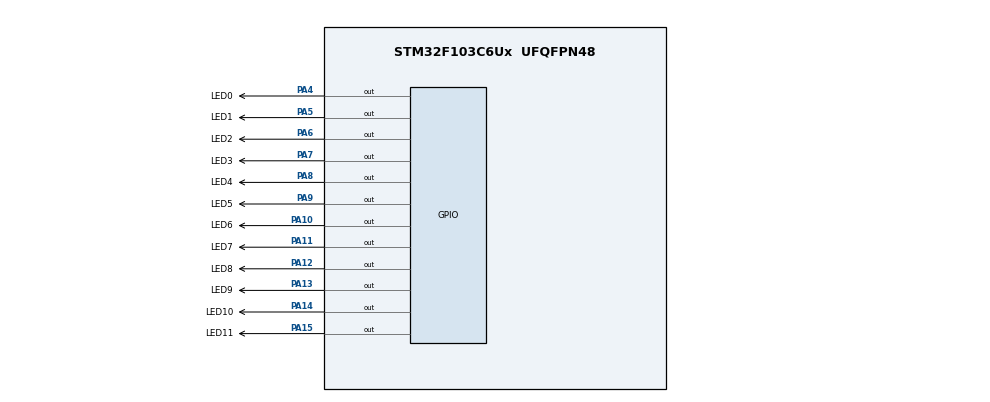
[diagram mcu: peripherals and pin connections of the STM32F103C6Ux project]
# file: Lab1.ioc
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Mcu.Family=STM32F1
Mcu.Name=STM32F103C6Ux
Mcu.Package=UFQFPN48
NVIC.PriorityGroup=NVIC_PRIORITYGROUP_4
PA10.GPIO_Label=LED6
PA10.Signal=GPIO_Output
PA11.GPIO_Label=LED7
PA11.Signal=GPIO_Output
PA12.GPIO_Label=LED8
PA12.Signal=GPIO_Output
PA13.GPIO_Label=LED9
PA13.Signal=GPIO_Output
PA14.GPIO_Label=LED10
PA14.Signal=GPIO_Output
PA15.GPIO_Label=LED11
PA15.Signal=GPIO_Output
PA4.GPIO_Label=LED0
PA4.Signal=GPIO_Output
PA5.GPIO_Label=LED1
PA5.Signal=GPIO_Output
PA6.GPIO_Label=LED2
PA6.Signal=GPIO_Output
PA7.GPIO_Label=LED3
PA7.Signal=GPIO_Output
PA8.GPIO_Label=LED4
PA8.Signal=GPIO_Output
PA9.GPIO_Label=LED5
PA9.Signal=GPIO_Output
ProjectManager.HeapSize=0x200
ProjectManager.StackSize=0x400
ProjectManager.TargetToolchain=STM32CubeIDE
RCC.APB1Freq_Value=8000000
RCC.APB2Freq_Value=8000000
VP_SYS_VS_ND.Mode=No_Debug
board=custom

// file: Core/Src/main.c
/* USER CODE BEGIN Header */
/**
  ******************************************************************************
  * @file           : main.c
  * @brief          : Main program body
  ******************************************************************************
  * @attention
  *
  * <h2><center>&copy; Copyright (c) 2025 STMicroelectronics.
  * All rights reserved.</center></h2>
  *
  * This software component is licensed by ST under BSD 3-Clause license,
  * the "License"; You may not use this file except in compliance with the
  * License. You may obtain a copy of the License at:
  *                        opensource.org/licenses/BSD-3-Clause
  *
  ******************************************************************************
  */
/* USER CODE END Header */
#include "main.h"

/* USER CODE BEGIN PD */
//define ON/OFF
#define ON 			1
#define OFF 		0

//define states
#define INIT	0;
#define HOUR 	1;
#define MIN  	2;
#define SECOND 	3;

/* USER CODE END PD */

void SystemClock_Config(void);
static void MX_GPIO_Init(void);

/* USER CODE BEGIN 0 */
void led0(uint8_t);
void led1(uint8_t);
void led2(uint8_t);
void led3(uint8_t);
void led4(uint8_t);
void led5(uint8_t);
void led6(uint8_t);
void led7(uint8_t);
void led8(uint8_t);
void led9(uint8_t);
void led10(uint8_t);
void led11(uint8_t);

void clearAllClock();
void setNumberOnClock(int num);
void clearNumberOnClock(int num);
/* USER CODE END 0 */

int main(void)
{

  /* MCU Configuration--------------------------------------------------------*/

  /* Reset of all peripherals, Initializes the Flash interface and the Systick. */
  HAL_Init();

  /* Configure the system clock */
  SystemClock_Config();

  /* Initialize all configured peripherals */
  MX_GPIO_Init();

  /* Infinite loop */
  /* USER CODE BEGIN WHILE */
  int second         = 0, minute         = 0, hour         = 0,
	  second_counter = 0, minute_counter = 0, hour_counter = 0;
  while (1)
  {

	  // -------- xử lý giây --------
	  second_counter++;
	  if (second_counter == 5) { // 5 giay troi qua
		  clearNumberOnClock(second % 12); // tat led truoc do
		  second++;
		  second_counter = 0;
	  }

	  if (second >= 60) second = 0;
	  setNumberOnClock(second % 12);

	  // -------- xử lý phút --------
	  minute_counter++;
	  if (minute_counter == 300) { // 60 giay troi qua
		  clearNumberOnClock(minute % 12);
		  minute++;
		  minute_counter = 0;
	  }
	  if (minute >= 12) minute = 0;
	  setNumberOnClock(minute % 12);

	  // -------- xử lý giờ --------
	  hour_counter++;
	  if (hour_counter == 3600) {
		  clearNumberOnClock(hour % 12);
		  hour++;
		  hour_counter = 0;
	  }
	  if (hour >= 12) hour = 0;
	  setNumberOnClock(hour % 12);

	  HAL_Delay(10);   // 1 "giây"
    /* USER CODE END WHILE */

  }
}

void SystemClock_Config(void)
{
  RCC_OscInitTypeDef RCC_OscInitStruct = {0};
  RCC_ClkInitTypeDef RCC_ClkInitStruct = {0};

  /** Initializes the RCC Oscillators according to the specified parameters
  * in the RCC_OscInitTypeDef structure.
  */
  RCC_OscInitStruct.OscillatorType = RCC_OSCILLATORTYPE_HSI;
  RCC_OscInitStruct.HSIState = RCC_HSI_ON;
  RCC_OscInitStruct.HSICalibrationValue = RCC_HSICALIBRATION_DEFAULT;
  RCC_OscInitStruct.PLL.PLLState = RCC_PLL_NONE;
  if (HAL_RCC_OscConfig(&RCC_OscInitStruct) != HAL_OK)
  {
    Error_Handler();
  }
  /** Initializes the CPU, AHB and APB buses clocks
  */
  RCC_ClkInitStruct.ClockType = RCC_CLOCKTYPE_HCLK|RCC_CLOCKTYPE_SYSCLK
                              |RCC_CLOCKTYPE_PCLK1|RCC_CLOCKTYPE_PCLK2;
  RCC_ClkInitStruct.SYSCLKSource = RCC_SYSCLKSOURCE_HSI;
  RCC_ClkInitStruct.AHBCLKDivider = RCC_SYSCLK_DIV1;
  RCC_ClkInitStruct.APB1CLKDivider = RCC_HCLK_DIV1;
  RCC_ClkInitStruct.APB2CLKDivider = RCC_HCLK_DIV1;

  if (HAL_RCC_ClockConfig(&RCC_ClkInitStruct, FLASH_LATENCY_0) != HAL_OK)
  {
    Error_Handler();
  }
}

static void MX_GPIO_Init(void)
{
  GPIO_InitTypeDef GPIO_InitStruct = {0};

  /* GPIO Ports Clock Enable */
  __HAL_RCC_GPIOA_CLK_ENABLE();

  /*Configure GPIO pin Output Level */
  HAL_GPIO_WritePin(GPIOA, LED0_Pin|LED1_Pin|LED2_Pin|LED3_Pin
                          |LED4_Pin|LED5_Pin|LED6_Pin|LED7_Pin
                          |LED8_Pin|LED9_Pin|LED10_Pin|LED11_Pin, GPIO_PIN_RESET);

  /*Configure GPIO pins : LED0_Pin LED1_Pin LED2_Pin LED3_Pin
                           LED4_Pin LED5_Pin LED6_Pin LED7_Pin
                           LED8_Pin LED9_Pin LED10_Pin LED11_Pin */
  GPIO_InitStruct.Pin = LED0_Pin|LED1_Pin|LED2_Pin|LED3_Pin
                          |LED4_Pin|LED5_Pin|LED6_Pin|LED7_Pin
                          |LED8_Pin|LED9_Pin|LED10_Pin|LED11_Pin;
  GPIO_InitStruct.Mode = GPIO_MODE_OUTPUT_PP;
  GPIO_InitStruct.Pull = GPIO_NOPULL;
  GPIO_InitStruct.Speed = GPIO_SPEED_FREQ_LOW;
  HAL_GPIO_Init(GPIOA, &GPIO_InitStruct);

}

/* USER CODE BEGIN 4 */
void clearAllClock() {
	led0(OFF); led1(OFF); led2(OFF); led3(OFF); led4(OFF);  led5(OFF);
	led6(OFF); led7(OFF); led8(OFF); led9(OFF); led10(OFF); led11(OFF);
}
void setNumberOnClock(int num) {
	if (num < 0 || num > 11) return;
	switch (num) {
			  case 0:
				  led0(ON);
				  break;

			  case 1:
				  led1(ON);
				  break;

			  case 2:
				  led2(ON);
				  break;

			  case 3:
				  led3(ON);
				  break;
			  case 4:
				  led4(ON);
				  break;

			  case 5:
				  led5(ON);
				  break;

			  case 6:
				  led6(ON);
				  break;

			  case 7:
				  led7(ON);
				  break;
			  case 8:
				  led8(ON);
				  break;

			  case 9:
				  led9(ON);
				  break;

			  case 10:
				  led10(ON);
				  break;

			  case 11:
				  led11(ON);
				  break;
			  default:
				  break;
		  }
}
void clearNumberOnClock(int num) {
	if (num < 0 || num > 11) return;
	switch(num) {
		  case 0:
			  led0(OFF);
			  break;

		  case 1:
			  led1(OFF);
			  break;

		  case 2:
			  led2(OFF);
			  break;

		  case 3:
			  led3(OFF);
			  break;
		  case 4:
			  led4(OFF);
			  break;

		  case 5:
			  led5(OFF);
			  break;

		  case 6:
			  led6(OFF);
			  break;

		  case 7:
			  led7(OFF);
			  break;
		  case 8:
			  led8(OFF);
			  break;

		  case 9:
			  led9(OFF);
			  break;

		  case 10:
			  led10(OFF);
			  break;

		  case 11:
			  led11(OFF);
			  break;
		  default:
			  break;
		}
}

void led0(uint8_t state) {
	HAL_GPIO_WritePin(LED0_GPIO_Port, LED0_Pin, state);
}
void led1(uint8_t state) {
	HAL_GPIO_WritePin(LED1_GPIO_Port, LED1_Pin, state);
}
void led2(uint8_t state) {
	HAL_GPIO_WritePin(LED2_GPIO_Port, LED2_Pin, state);
}
void led3(uint8_t state) {
	HAL_GPIO_WritePin(LED3_GPIO_Port, LED3_Pin, state);
}
void led4(uint8_t state) {
	HAL_GPIO_WritePin(LED4_GPIO_Port, LED4_Pin, state);
}
void led5(uint8_t state) {
	HAL_GPIO_WritePin(LED5_GPIO_Port, LED5_Pin, state);
}
void led7(uint8_t state) {
	HAL_GPIO_WritePin(LED7_GPIO_Port, LED7_Pin, state);
}
void led8(uint8_t state) {
	HAL_GPIO_WritePin(LED8_GPIO_Port, LED8_Pin, state);
}
void led6(uint8_t state) {
	HAL_GPIO_WritePin(LED6_GPIO_Port, LED6_Pin, state);
}
void led9(uint8_t state) {
	HAL_GPIO_WritePin(LED9_GPIO_Port, LED9_Pin, state);
}
void led10(uint8_t state) {
	HAL_GPIO_WritePin(LED10_GPIO_Port, LED10_Pin, state);
}
void led11(uint8_t state) {
	HAL_GPIO_WritePin(LED11_GPIO_Port, LED11_Pin, state);
}

/* USER CODE END 4 */

void Error_Handler(void)
{
  __disable_irq();
  while (1)
  {
  }
}

/************************ (C) COPYRIGHT STMicroelectronics *****END OF FILE****/
